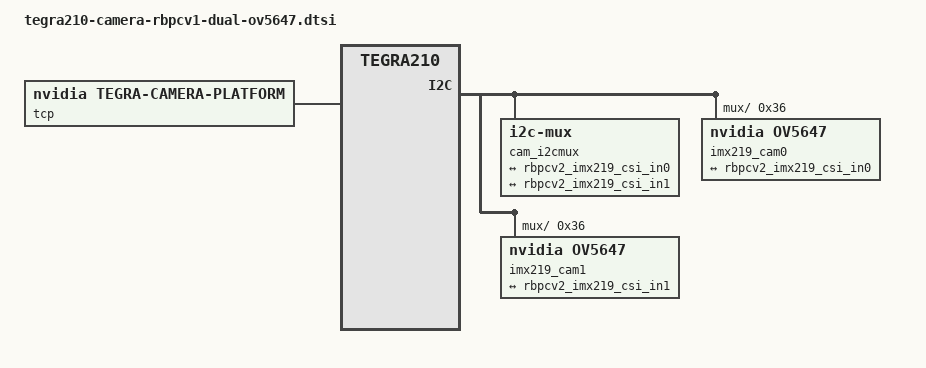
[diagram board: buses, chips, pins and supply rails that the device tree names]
/*
 * tegra210-camera-rbpcv1-dual-ov5647.dtsi
 *
 * Two OmniVision OV5647 (Raspberry Pi Camera v1 / clones) on the Jetson Nano
 * B01 carrier: cam0 -> CSI A (serial_a, i2c mux channel 0, bus 7),
 * cam1 -> CSI E (serial_e, i2c mux channel 1, bus 8).
 *
 * Derived from NVIDIA's tegra210-camera-rbpcv2-dual-imx219.dtsi (GPL-2.0).
 *
 * NOTE: the labels imx219_cam0 / imx219_cam1 / rbpcv2_imx219_* are kept on
 * purpose. The stock porg plugin-manager (tegra210-porg-plugin-manager.dtsi,
 * fragement@10) enables the camera nodes at boot by *label*, so reusing the
 * stock labels lets this file drop in without forking that 400 line file.
 * The node names and every property are OV5647 specific.
 *
 * This program is free software; you can redistribute it and/or modify
 * it under the terms of the GNU General Public License as published by
 * the Free Software Foundation; either version 2 of the License, or
 * (at your option) any later version.
 */

#include <dt-bindings/media/camera.h>
#include <dt-bindings/platform/t210/t210.h>

/ {
	host1x {
		vi_base: vi {
			num-channels = <2>;
			ports {
				#address-cells = <1>;
				#size-cells = <0>;
				vi_port0: port@0 {
					reg = <0>;
					rbpcv2_imx219_vi_in0: endpoint {
						port-index = <0>;
						bus-width = <2>;
						remote-endpoint = <&rbpcv2_imx219_csi_out0>;
					};
				};
				vi_port1: port@1 {
					reg = <1>;
					rbpcv2_imx219_vi_in1: endpoint {
						port-index = <4>;
						bus-width = <2>;
						remote-endpoint = <&rbpcv2_imx219_csi_out1>;
					};
				};
			};
		};

		csi_base: nvcsi {
			num-channels = <2>;
			#address-cells = <1>;
			#size-cells = <0>;
			csi_chan0: channel@0 {
				reg = <0>;
				ports {
					#address-cells = <1>;
					#size-cells = <0>;
					csi_chan0_port0: port@0 {
						reg = <0>;
						rbpcv2_imx219_csi_in0: endpoint@0 {
							port-index = <0>;
							bus-width = <2>;
							remote-endpoint = <&rbpcv2_imx219_dual_out0>;
						};
					};
					csi_chan0_port1: port@1 {
						reg = <1>;
						rbpcv2_imx219_csi_out0: endpoint@1 {
							remote-endpoint = <&rbpcv2_imx219_vi_in0>;
						};
					};
				};
			};
			csi_chan1: channel@1 {
				reg = <1>;
				ports {
					#address-cells = <1>;
					#size-cells = <0>;
					csi_chan1_port0: port@2 {
						reg = <0>;
						rbpcv2_imx219_csi_in1: endpoint@2 {
							port-index = <4>;
							bus-width = <2>;
							remote-endpoint = <&rbpcv2_imx219_out1>;
						};
					};
					csi_chan1_port1: port@3 {
						reg = <1>;
						rbpcv2_imx219_csi_out1: endpoint@3 {
							remote-endpoint = <&rbpcv2_imx219_vi_in1>;
						};
					};
				};
			};
		};
	};

	cam_i2cmux {
		i2c_0: i2c@0 {
			imx219_cam0: rbpcv1_ov5647_a@36 {
				compatible = "nvidia,ov5647";
				/* I2C device address */
				reg = <0x36>;

				/* V4L2 device node location */
				devnode = "video0";

				/* Physical dimensions of sensor (1.4 um pixels) */
				physical_w = "3.629";
				physical_h = "2.722";

				sensor_model = "ov5647";

				use_sensor_mode_id = "true";

				/*
				 * Mode ordering must match ov5647_frmfmt[] in
				 * driver/ov5647_mode_tbls.h.
				 * pix_clk_hz is the sensor pixel clock implied by the
				 * PLL settings of each mode (25 MHz XVCLK), line_length
				 * is the mode's HTS. Exposure/frame-rate math in the
				 * driver relies on these two being consistent.
				 */
				mode0 { /* OV5647_MODE_2592X1944_15FPS */
					mclk_khz = "25000";
					num_lanes = "2";
					tegra_sinterface = "serial_a";
					phy_mode = "DPHY";
					discontinuous_clk = "yes";
					dpcm_enable = "false";
					cil_settletime = "0";

					active_w = "2592";
					active_h = "1944";
					pixel_t = "bayer_bggr";
					readout_orientation = "0";
					line_length = "2844";
					inherent_gain = "1";
					mclk_multiplier = "3.5";
					pix_clk_hz = "87500000";

					gain_factor = "16";
					framerate_factor = "1000000";
					exposure_factor = "1000000";
					min_gain_val = "16"; /* 1.00x */
					max_gain_val = "1023"; /* ~64x */
					step_gain_val = "1";
					default_gain = "16"; /* 1.00x */
					min_hdr_ratio = "1";
					max_hdr_ratio = "1";
					min_framerate = "2000000"; /* 2.0 fps */
					max_framerate = "15000000"; /* 15.0 fps */
					step_framerate = "1";
					default_framerate = "15000000"; /* 15.0 fps */
					min_exp_time = "130"; /* us */
					max_exp_time = "1000000"; /* us */
					step_exp_time = "1";
					default_exp_time = "10000"; /* us */

					embedded_metadata_height = "0";
				};
				mode1 { /* OV5647_MODE_1920X1080_30FPS */
					mclk_khz = "25000";
					num_lanes = "2";
					tegra_sinterface = "serial_a";
					phy_mode = "DPHY";
					discontinuous_clk = "yes";
					dpcm_enable = "false";
					cil_settletime = "0";

					active_w = "1920";
					active_h = "1080";
					pixel_t = "bayer_bggr";
					readout_orientation = "0";
					line_length = "2416";
					inherent_gain = "1";
					mclk_multiplier = "3.5";
					pix_clk_hz = "87500000";

					gain_factor = "16";
					framerate_factor = "1000000";
					exposure_factor = "1000000";
					min_gain_val = "16"; /* 1.00x */
					max_gain_val = "1023"; /* ~64x */
					step_gain_val = "1";
					default_gain = "16"; /* 1.00x */
					min_hdr_ratio = "1";
					max_hdr_ratio = "1";
					min_framerate = "2000000"; /* 2.0 fps */
					max_framerate = "30000000"; /* 30.0 fps */
					step_framerate = "1";
					default_framerate = "30000000"; /* 30.0 fps */
					min_exp_time = "110"; /* us */
					max_exp_time = "900000"; /* us */
					step_exp_time = "1";
					default_exp_time = "10000"; /* us */

					embedded_metadata_height = "0";
				};
				mode2 { /* OV5647_MODE_1296X972_30FPS */
					mclk_khz = "25000";
					num_lanes = "2";
					tegra_sinterface = "serial_a";
					phy_mode = "DPHY";
					discontinuous_clk = "yes";
					dpcm_enable = "false";
					cil_settletime = "0";

					active_w = "1296";
					active_h = "972";
					pixel_t = "bayer_bggr";
					readout_orientation = "0";
					line_length = "1896";
					inherent_gain = "1";
					mclk_multiplier = "3.5";
					pix_clk_hz = "87500000";

					gain_factor = "16";
					framerate_factor = "1000000";
					exposure_factor = "1000000";
					min_gain_val = "16"; /* 1.00x */
					max_gain_val = "1023"; /* ~64x */
					step_gain_val = "1";
					default_gain = "16"; /* 1.00x */
					min_hdr_ratio = "1";
					max_hdr_ratio = "1";
					min_framerate = "2000000"; /* 2.0 fps */
					max_framerate = "30000000"; /* 30.0 fps */
					step_framerate = "1";
					default_framerate = "30000000"; /* 30.0 fps */
					min_exp_time = "87"; /* us */
					max_exp_time = "700000"; /* us */
					step_exp_time = "1";
					default_exp_time = "10000"; /* us */

					embedded_metadata_height = "0";
				};
				mode3 { /* OV5647_MODE_640X480_60FPS */
					mclk_khz = "25000";
					num_lanes = "2";
					tegra_sinterface = "serial_a";
					phy_mode = "DPHY";
					discontinuous_clk = "yes";
					dpcm_enable = "false";
					cil_settletime = "0";

					active_w = "640";
					active_h = "480";
					pixel_t = "bayer_bggr";
					readout_orientation = "0";
					line_length = "1852";
					inherent_gain = "1";
					mclk_multiplier = "2.33";
					pix_clk_hz = "58333333";

					gain_factor = "16";
					framerate_factor = "1000000";
					exposure_factor = "1000000";
					min_gain_val = "16"; /* 1.00x */
					max_gain_val = "1023"; /* ~64x */
					step_gain_val = "1";
					default_gain = "16"; /* 1.00x */
					min_hdr_ratio = "1";
					max_hdr_ratio = "1";
					min_framerate = "2000000"; /* 2.0 fps */
					max_framerate = "60000000"; /* 60.0 fps */
					step_framerate = "1";
					default_framerate = "60000000"; /* 60.0 fps */
					min_exp_time = "132"; /* us */
					max_exp_time = "1000000"; /* us */
					step_exp_time = "1";
					default_exp_time = "10000"; /* us */

					embedded_metadata_height = "0";
				};

				ports {
					#address-cells = <1>;
					#size-cells = <0>;

					port@0 {
						reg = <0>;
						rbpcv2_imx219_dual_out0: endpoint {
							port-index = <0>;
							bus-width = <2>;
							remote-endpoint = <&rbpcv2_imx219_csi_in0>;
						};
					};
				};
			};
		};
		i2c_1: i2c@1 {
			imx219_cam1: rbpcv1_ov5647_e@36 {
				compatible = "nvidia,ov5647";
				/* I2C device address */
				reg = <0x36>;

				/* V4L2 device node location */
				devnode = "video1";

				/* Physical dimensions of sensor (1.4 um pixels) */
				physical_w = "3.629";
				physical_h = "2.722";

				sensor_model = "ov5647";

				use_sensor_mode_id = "true";

				/*
				 * Mode ordering must match ov5647_frmfmt[] in
				 * driver/ov5647_mode_tbls.h.
				 * pix_clk_hz is the sensor pixel clock implied by the
				 * PLL settings of each mode (25 MHz XVCLK), line_length
				 * is the mode's HTS. Exposure/frame-rate math in the
				 * driver relies on these two being consistent.
				 */
				mode0 { /* OV5647_MODE_2592X1944_15FPS */
					mclk_khz = "25000";
					num_lanes = "2";
					tegra_sinterface = "serial_e";
					phy_mode = "DPHY";
					discontinuous_clk = "yes";
					dpcm_enable = "false";
					cil_settletime = "0";

					active_w = "2592";
					active_h = "1944";
					pixel_t = "bayer_bggr";
					readout_orientation = "0";
					line_length = "2844";
					inherent_gain = "1";
					mclk_multiplier = "3.5";
					pix_clk_hz = "87500000";

					gain_factor = "16";
					framerate_factor = "1000000";
					exposure_factor = "1000000";
					min_gain_val = "16"; /* 1.00x */
					max_gain_val = "1023"; /* ~64x */
					step_gain_val = "1";
					default_gain = "16"; /* 1.00x */
					min_hdr_ratio = "1";
					max_hdr_ratio = "1";
					min_framerate = "2000000"; /* 2.0 fps */
					max_framerate = "15000000"; /* 15.0 fps */
					step_framerate = "1";
					default_framerate = "15000000"; /* 15.0 fps */
					min_exp_time = "130"; /* us */
					max_exp_time = "1000000"; /* us */
					step_exp_time = "1";
					default_exp_time = "10000"; /* us */

					embedded_metadata_height = "0";
				};
				mode1 { /* OV5647_MODE_1920X1080_30FPS */
					mclk_khz = "25000";
					num_lanes = "2";
					tegra_sinterface = "serial_e";
					phy_mode = "DPHY";
					discontinuous_clk = "yes";
					dpcm_enable = "false";
					cil_settletime = "0";

					active_w = "1920";
					active_h = "1080";
					pixel_t = "bayer_bggr";
					readout_orientation = "0";
					line_length = "2416";
					inherent_gain = "1";
					mclk_multiplier = "3.5";
					pix_clk_hz = "87500000";

					gain_factor = "16";
					framerate_factor = "1000000";
					exposure_factor = "1000000";
					min_gain_val = "16"; /* 1.00x */
					max_gain_val = "1023"; /* ~64x */
					step_gain_val = "1";
					default_gain = "16"; /* 1.00x */
					min_hdr_ratio = "1";
					max_hdr_ratio = "1";
					min_framerate = "2000000"; /* 2.0 fps */
					max_framerate = "30000000"; /* 30.0 fps */
					step_framerate = "1";
					default_framerate = "30000000"; /* 30.0 fps */
					min_exp_time = "110"; /* us */
					max_exp_time = "900000"; /* us */
					step_exp_time = "1";
					default_exp_time = "10000"; /* us */

					embedded_metadata_height = "0";
				};
				mode2 { /* OV5647_MODE_1296X972_30FPS */
					mclk_khz = "25000";
					num_lanes = "2";
					tegra_sinterface = "serial_e";
					phy_mode = "DPHY";
					discontinuous_clk = "yes";
					dpcm_enable = "false";
					cil_settletime = "0";

					active_w = "1296";
					active_h = "972";
					pixel_t = "bayer_bggr";
					readout_orientation = "0";
					line_length = "1896";
					inherent_gain = "1";
					mclk_multiplier = "3.5";
					pix_clk_hz = "87500000";

					gain_factor = "16";
					framerate_factor = "1000000";
					exposure_factor = "1000000";
					min_gain_val = "16"; /* 1.00x */
					max_gain_val = "1023"; /* ~64x */
					step_gain_val = "1";
					default_gain = "16"; /* 1.00x */
					min_hdr_ratio = "1";
					max_hdr_ratio = "1";
					min_framerate = "2000000"; /* 2.0 fps */
					max_framerate = "30000000"; /* 30.0 fps */
					step_framerate = "1";
					default_framerate = "30000000"; /* 30.0 fps */
					min_exp_time = "87"; /* us */
					max_exp_time = "700000"; /* us */
					step_exp_time = "1";
					default_exp_time = "10000"; /* us */

					embedded_metadata_height = "0";
				};
				mode3 { /* OV5647_MODE_640X480_60FPS */
					mclk_khz = "25000";
					num_lanes = "2";
					tegra_sinterface = "serial_e";
					phy_mode = "DPHY";
					discontinuous_clk = "yes";
					dpcm_enable = "false";
					cil_settletime = "0";

					active_w = "640";
					active_h = "480";
					pixel_t = "bayer_bggr";
					readout_orientation = "0";
					line_length = "1852";
					inherent_gain = "1";
					mclk_multiplier = "2.33";
					pix_clk_hz = "58333333";

					gain_factor = "16";
					framerate_factor = "1000000";
					exposure_factor = "1000000";
					min_gain_val = "16"; /* 1.00x */
					max_gain_val = "1023"; /* ~64x */
					step_gain_val = "1";
					default_gain = "16"; /* 1.00x */
					min_hdr_ratio = "1";
					max_hdr_ratio = "1";
					min_framerate = "2000000"; /* 2.0 fps */
					max_framerate = "60000000"; /* 60.0 fps */
					step_framerate = "1";
					default_framerate = "60000000"; /* 60.0 fps */
					min_exp_time = "132"; /* us */
					max_exp_time = "1000000"; /* us */
					step_exp_time = "1";
					default_exp_time = "10000"; /* us */

					embedded_metadata_height = "0";
				};

				ports {
					#address-cells = <1>;
					#size-cells = <0>;

					port@0 {
						reg = <0>;
						rbpcv2_imx219_out1: endpoint {
							port-index = <4>;
							bus-width = <2>;
							remote-endpoint = <&rbpcv2_imx219_csi_in1>;
						};
					};
				};
			};
		};
	};

	lens_ov5647@RBPCV1 {
		min_focus_distance = "0.0";
		hyper_focal = "0.0";
		focal_length = "3.60";
		f_number = "2.9";
		aperture = "0.0";
	};
};

/ {
	tcp: tegra-camera-platform {
		compatible = "nvidia, tegra-camera-platform";

		/**
		* Physical settings to calculate max ISO BW
		*
		* num_csi_lanes = <>;
		* Total number of CSI lanes when all cameras are active
		*
		* max_lane_speed = <>;
		* Max lane speed in Kbit/s
		*
		* min_bits_per_pixel = <>;
		* Min bits per pixel
		*
		* vi_peak_byte_per_pixel = <>;
		* Max byte per pixel for the VI ISO case
		*
		* vi_bw_margin_pct = <>;
		* Vi bandwidth margin in percentage
		*
		* max_pixel_rate = <>;
		* Max pixel rate in Kpixel/s for the ISP ISO case
		*
		* isp_peak_byte_per_pixel = <>;
		* Max byte per pixel for the ISP ISO case
		*
		* isp_bw_margin_pct = <>;
		* Isp bandwidth margin in percentage
		*/
		num_csi_lanes = <4>;
		max_lane_speed = <1500000>;
		min_bits_per_pixel = <10>;
		vi_peak_byte_per_pixel = <2>;
		vi_bw_margin_pct = <25>;
		max_pixel_rate = <240000>;
		isp_peak_byte_per_pixel = <5>;
		isp_bw_margin_pct = <25>;

		modules {
			cam_module0: module0 {
				badge = "porg_front_RBPCV1";
				position = "front";
				orientation = "1";
				cam_module0_drivernode0: drivernode0 {
					pcl_id = "v4l2_sensor";
					devname = "ov5647 7-0036";
					proc-device-tree = "/proc/device-tree/cam_i2cmux/i2c@0/rbpcv1_ov5647_a@36";
				};
				cam_module0_drivernode1: drivernode1 {
					pcl_id = "v4l2_lens";
					proc-device-tree = "/proc/device-tree/lens_ov5647@RBPCV1/";
				};
			};
			cam_module1: module1 {
				badge = "porg_rear_RBPCV1";
				position = "rear";
				orientation = "1";
				cam_module1_drivernode0: drivernode0 {
					pcl_id = "v4l2_sensor";
					devname = "ov5647 8-0036";
					proc-device-tree = "/proc/device-tree/cam_i2cmux/i2c@1/rbpcv1_ov5647_e@36";
				};
				cam_module1_drivernode1: drivernode1 {
					pcl_id = "v4l2_lens";
					proc-device-tree = "/proc/device-tree/lens_ov5647@RBPCV1/";
				};
			};
		};
	};
};
